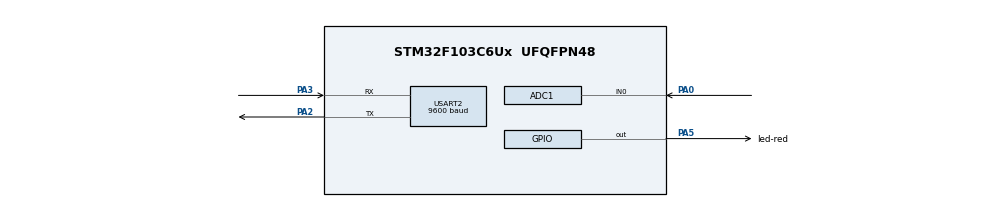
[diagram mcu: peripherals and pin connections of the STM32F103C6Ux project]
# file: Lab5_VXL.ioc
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ADC1.Channel-0\#ChannelRegularConversion=ADC_CHANNEL_0
ADC1.ContinuousConvMode=ENABLE
ADC1.NbrOfConversionFlag=1
ADC1.Rank-0\#ChannelRegularConversion=1
ADC1.SamplingTime-0\#ChannelRegularConversion=ADC_SAMPLETIME_1CYCLE_5
ADC1.master=1
Mcu.Family=STM32F1
Mcu.Name=STM32F103C6Ux
Mcu.Package=UFQFPN48
NVIC.PriorityGroup=NVIC_PRIORITYGROUP_4
NVIC.TIM2_IRQn=true\:0\:0\:false\:false\:true\:true\:true\:true
NVIC.USART2_IRQn=true\:0\:0\:false\:false\:true\:true\:true\:true
PA0-WKUP.Signal=ADCx_IN0
PA2.Mode=Asynchronous
PA2.Signal=USART2_TX
PA3.Mode=Asynchronous
PA3.Signal=USART2_RX
PA5.GPIO_Label=led-red
PA5.Signal=GPIO_Output
ProjectManager.HeapSize=0x200
ProjectManager.StackSize=0x400
ProjectManager.TargetToolchain=STM32CubeIDE
RCC.APB1Freq_Value=8000000
RCC.APB2Freq_Value=8000000
SH.ADCx_IN0.0=ADC1_IN0,IN0
TIM2.Period=7999
TIM2.Prescaler=9
USART2.BaudRate=9600
USART2.VirtualMode=VM_ASYNC
VP_TIM2_VS_ClockSourceINT.Mode=Internal
board=custom

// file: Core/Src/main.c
/* USER CODE BEGIN Header */
/**
  ******************************************************************************
  * @file           : main.c
  * @brief          : Main program body
  ******************************************************************************
  * @attention
  *
  * Copyright (c) 2023 STMicroelectronics.
  * All rights reserved.
  *
  * This software is licensed under terms that can be found in the LICENSE file
  * in the root directory of this software component.
  * If no LICENSE file comes with this software, it is provided AS-IS.
  *
  ******************************************************************************
  */
/* USER CODE END Header */
#include "main.h"
#include "stdio.h"
#include "command_parser.h"
#include "uart_communication.h"
#include "timer.h"

ADC_HandleTypeDef hadc1;

TIM_HandleTypeDef htim2;

UART_HandleTypeDef huart2;

void SystemClock_Config(void);
static void MX_GPIO_Init(void);
static void MX_TIM2_Init(void);
static void MX_USART2_UART_Init(void);
static void MX_ADC1_Init(void);

/* USER CODE BEGIN 0 */
#define MAX_BUFFER_SIZE 30
//uint8_t temp = 0;
//uint8_t buffer [ MAX_BUFFER_SIZE ];
//uint8_t index_buffer = 0;
uint8_t buffer_flag = 0;

void HAL_UART_RxCpltCallback ( UART_HandleTypeDef * huart )
{
	if(huart -> Instance == USART2 )
	{
		HAL_UART_Transmit (& huart2 , &temp , 1, 50) ;
		buffer [ index_buffer ++] = temp;
		if( index_buffer == 50) index_buffer = 0;
		buffer_flag = 1;
		HAL_UART_Receive_IT (& huart2 , &temp , 1);
	}
}

/* USER CODE END 0 */

int main(void)
{

  /* MCU Configuration--------------------------------------------------------*/

  /* Reset of all peripherals, Initializes the Flash interface and the Systick. */
  HAL_Init();

  /* Configure the system clock */
  SystemClock_Config();

  /* Initialize all configured peripherals */
  MX_GPIO_Init();
  MX_TIM2_Init();
  MX_USART2_UART_Init();
  MX_ADC1_Init();
  HAL_TIM_Base_Start_IT (&htim2);
  /* USER CODE BEGIN 2 */
  HAL_UART_Receive_IT(&huart2, &temp, 1);
  HAL_ADC_Start(&hadc1);
  setTimer1(1000);
  setTimer2(1000);
  /* USER CODE END 2 */

  /* Infinite loop */
  /* USER CODE BEGIN WHILE */
  int ADC_value = 2;
  char str[20];
  while (1)
  {
    /* USER CODE END WHILE */
//	  if( buffer_flag == 1){
//		  command_parser_fsm();
//		  buffer_flag = 0;
//	  }
//	  uart_communication_fsm();
//	  if (timer1_flag == 1){
//		  	  HAL_GPIO_TogglePin(led_red_GPIO_Port, led_red_Pin);
//		  	  setTimer1(500);
//	  }

	  HAL_GPIO_TogglePin(led_red_GPIO_Port, led_red_Pin);
	  ADC_value = HAL_ADC_GetValue(&hadc1);
	  HAL_UART_Transmit (& huart2 , ( void *) str , sprintf (str , "%d\n", ADC_value ), 1000);
	  HAL_Delay(500);

  }
}

void SystemClock_Config(void)
{
  RCC_OscInitTypeDef RCC_OscInitStruct = {0};
  RCC_ClkInitTypeDef RCC_ClkInitStruct = {0};
  RCC_PeriphCLKInitTypeDef PeriphClkInit = {0};

  /** Initializes the RCC Oscillators according to the specified parameters
  * in the RCC_OscInitTypeDef structure.
  */
  RCC_OscInitStruct.OscillatorType = RCC_OSCILLATORTYPE_HSI;
  RCC_OscInitStruct.HSIState = RCC_HSI_ON;
  RCC_OscInitStruct.HSICalibrationValue = RCC_HSICALIBRATION_DEFAULT;
  RCC_OscInitStruct.PLL.PLLState = RCC_PLL_NONE;
  if (HAL_RCC_OscConfig(&RCC_OscInitStruct) != HAL_OK)
  {
    Error_Handler();
  }

  /** Initializes the CPU, AHB and APB buses clocks
  */
  RCC_ClkInitStruct.ClockType = RCC_CLOCKTYPE_HCLK|RCC_CLOCKTYPE_SYSCLK
                              |RCC_CLOCKTYPE_PCLK1|RCC_CLOCKTYPE_PCLK2;
  RCC_ClkInitStruct.SYSCLKSource = RCC_SYSCLKSOURCE_HSI;
  RCC_ClkInitStruct.AHBCLKDivider = RCC_SYSCLK_DIV1;
  RCC_ClkInitStruct.APB1CLKDivider = RCC_HCLK_DIV1;
  RCC_ClkInitStruct.APB2CLKDivider = RCC_HCLK_DIV1;

  if (HAL_RCC_ClockConfig(&RCC_ClkInitStruct, FLASH_LATENCY_0) != HAL_OK)
  {
    Error_Handler();
  }
  PeriphClkInit.PeriphClockSelection = RCC_PERIPHCLK_ADC;
  PeriphClkInit.AdcClockSelection = RCC_ADCPCLK2_DIV2;
  if (HAL_RCCEx_PeriphCLKConfig(&PeriphClkInit) != HAL_OK)
  {
    Error_Handler();
  }
}

static void MX_ADC1_Init(void)
{

  ADC_ChannelConfTypeDef sConfig = {0};

  /** Common config
  */
  hadc1.Instance = ADC1;
  hadc1.Init.ScanConvMode = ADC_SCAN_DISABLE;
  hadc1.Init.ContinuousConvMode = ENABLE;
  hadc1.Init.DiscontinuousConvMode = DISABLE;
  hadc1.Init.ExternalTrigConv = ADC_SOFTWARE_START;
  hadc1.Init.DataAlign = ADC_DATAALIGN_RIGHT;
  hadc1.Init.NbrOfConversion = 1;
  if (HAL_ADC_Init(&hadc1) != HAL_OK)
  {
    Error_Handler();
  }

  /** Configure Regular Channel
  */
  sConfig.Channel = ADC_CHANNEL_0;
  sConfig.Rank = ADC_REGULAR_RANK_1;
  sConfig.SamplingTime = ADC_SAMPLETIME_1CYCLE_5;
  if (HAL_ADC_ConfigChannel(&hadc1, &sConfig) != HAL_OK)
  {
    Error_Handler();
  }

}

static void MX_TIM2_Init(void)
{

  TIM_ClockConfigTypeDef sClockSourceConfig = {0};
  TIM_MasterConfigTypeDef sMasterConfig = {0};

  htim2.Instance = TIM2;
  htim2.Init.Prescaler = 9;
  htim2.Init.CounterMode = TIM_COUNTERMODE_UP;
  htim2.Init.Period = 7999;
  htim2.Init.ClockDivision = TIM_CLOCKDIVISION_DIV1;
  htim2.Init.AutoReloadPreload = TIM_AUTORELOAD_PRELOAD_DISABLE;
  if (HAL_TIM_Base_Init(&htim2) != HAL_OK)
  {
    Error_Handler();
  }
  sClockSourceConfig.ClockSource = TIM_CLOCKSOURCE_INTERNAL;
  if (HAL_TIM_ConfigClockSource(&htim2, &sClockSourceConfig) != HAL_OK)
  {
    Error_Handler();
  }
  sMasterConfig.MasterOutputTrigger = TIM_TRGO_RESET;
  sMasterConfig.MasterSlaveMode = TIM_MASTERSLAVEMODE_DISABLE;
  if (HAL_TIMEx_MasterConfigSynchronization(&htim2, &sMasterConfig) != HAL_OK)
  {
    Error_Handler();
  }

}

static void MX_USART2_UART_Init(void)
{

  huart2.Instance = USART2;
  huart2.Init.BaudRate = 9600;
  huart2.Init.WordLength = UART_WORDLENGTH_8B;
  huart2.Init.StopBits = UART_STOPBITS_1;
  huart2.Init.Parity = UART_PARITY_NONE;
  huart2.Init.Mode = UART_MODE_TX_RX;
  huart2.Init.HwFlowCtl = UART_HWCONTROL_NONE;
  huart2.Init.OverSampling = UART_OVERSAMPLING_16;
  if (HAL_UART_Init(&huart2) != HAL_OK)
  {
    Error_Handler();
  }

}

static void MX_GPIO_Init(void)
{
  GPIO_InitTypeDef GPIO_InitStruct = {0};

  /* GPIO Ports Clock Enable */
  __HAL_RCC_GPIOA_CLK_ENABLE();

  /*Configure GPIO pin Output Level */
  HAL_GPIO_WritePin(led_red_GPIO_Port, led_red_Pin, GPIO_PIN_RESET);

  /*Configure GPIO pin : led_red_Pin */
  GPIO_InitStruct.Pin = led_red_Pin;
  GPIO_InitStruct.Mode = GPIO_MODE_OUTPUT_PP;
  GPIO_InitStruct.Pull = GPIO_NOPULL;
  GPIO_InitStruct.Speed = GPIO_SPEED_FREQ_LOW;
  HAL_GPIO_Init(led_red_GPIO_Port, &GPIO_InitStruct);

}

void Error_Handler(void)
{
  __disable_irq();
  while (1)
  {
  }
}
